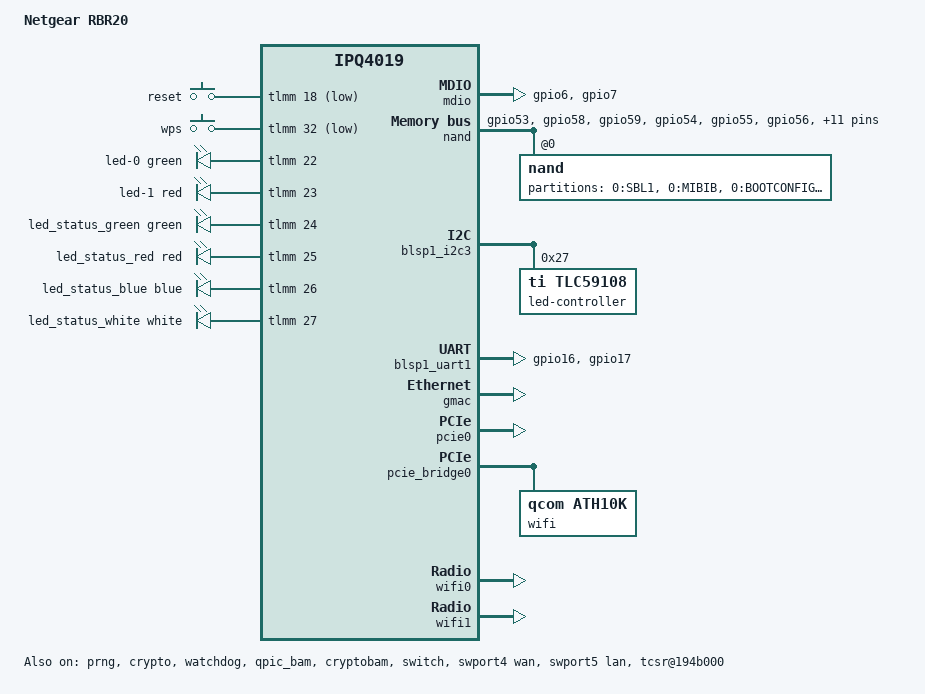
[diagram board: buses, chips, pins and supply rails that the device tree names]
// SPDX-License-Identifier: GPL-2.0-or-later OR MIT

#include "qcom-ipq4019.dtsi"
#include <dt-bindings/gpio/gpio.h>
#include <dt-bindings/input/input.h>
#include <dt-bindings/soc/qcom,tcsr.h>
#include <dt-bindings/leds/common.h>

/ {
	model = "Netgear RBR20";
	compatible = "netgear,rbr20";

	chosen {
		bootargs-append = "ubi.mtd=ubi root=/dev/ubiblock0_0";
	};

	aliases {
		led-boot = &led_status_white;
		led-failsafe = &led_status_red;
		led-running = &led_status_green;
		led-upgrade = &led_status_blue;
		label-mac-device = &gmac;
	};

	keys {
		compatible = "gpio-keys";

		reset {
			label = "reset";
			gpios = <&tlmm 18 GPIO_ACTIVE_LOW>;
			linux,code = <KEY_RESTART>;
		};

		wps {
			label = "wps";
			gpios = <&tlmm 32 GPIO_ACTIVE_LOW>;
			linux,code = <KEY_WPS_BUTTON>;
		};
	};

	leds {
		compatible = "gpio-leds";

		led-0 {
			function = LED_FUNCTION_POWER;
			color = <LED_COLOR_ID_GREEN>;
			gpios = <&tlmm 22 GPIO_ACTIVE_HIGH>;
			default-state = "on";
		};

		led-1 {
			function = LED_FUNCTION_POWER;
			color = <LED_COLOR_ID_RED>;
			gpios = <&tlmm 23 GPIO_ACTIVE_HIGH>;
			panic-indicator;
		};

		led_status_green: led-2 {
			function = LED_FUNCTION_STATUS;
			color = <LED_COLOR_ID_GREEN>;
			gpios = <&tlmm 24 GPIO_ACTIVE_HIGH>;
		};

		led_status_red: led-3 {
			function = LED_FUNCTION_STATUS;
			color = <LED_COLOR_ID_RED>;
			gpios = <&tlmm 25 GPIO_ACTIVE_HIGH>;
		};

		led_status_blue: led-4 {
			function = LED_FUNCTION_STATUS;
			color = <LED_COLOR_ID_BLUE>;
			gpios = <&tlmm 26 GPIO_ACTIVE_HIGH>;
		};

		led_status_white: led-5 {
			function = LED_FUNCTION_STATUS;
			color = <LED_COLOR_ID_WHITE>;
			gpios = <&tlmm 27 GPIO_ACTIVE_HIGH>;
		};
	};

	soc {
		tcsr@1949000 {
			compatible = "qcom,tcsr";
			reg = <0x1949000 0x100>;
			qcom,wifi_glb_cfg = <TCSR_WIFI_GLB_CFG>;
		};

		tcsr@194b000 {
			status = "okay";

			compatible = "qcom,tcsr";
			reg = <0x194b000 0x100>;
			qcom,usb-hsphy-mode-select = <TCSR_USB_HSPHY_HOST_MODE>;
		};

		ess_tcsr@1953000 {
			compatible = "qcom,tcsr";
			reg = <0x1953000 0x1000>;
			qcom,ess-interface-select = <TCSR_ESS_PSGMII>;
		};

		tcsr@1957000 {
			compatible = "qcom,tcsr";
			reg = <0x1957000 0x100>;
			qcom,wifi_noc_memtype_m0_m2 = <TCSR_WIFI_NOC_MEMTYPE_M0_M2>;
		};
	};
};

&prng {
	status = "okay";
};

&mdio {
	status = "okay";
	pinctrl-0 = <&mdio_pins>;
	pinctrl-names = "default";
};

&crypto {
	status = "okay";
};

&watchdog {
	status = "okay";
};

&blsp_dma {
	status = "okay";
};

&qpic_bam {
	status = "okay";
};

&tlmm {
	mdio_pins: mdio-pinmux {
		mux_mdio {
			pins = "gpio6";
			function = "mdio";
			bias-pull-up;
		};

		mux_mdc {
			pins = "gpio7";
			function = "mdc";
			bias-pull-up;
		};
	};

	serial_pins: serial-pinmux {
		function = "blsp_uart0";
		pins = "gpio16", "gpio17";
		bias-disable;
	};

	nand_pins: nand-pins {
		pullups {
			pins = "gpio53", "gpio58", "gpio59";
			function = "qpic";
			bias-pull-up;
		};

		pulldowns {
			pins = "gpio54", "gpio55", "gpio56",
				"gpio57", "gpio60", "gpio61",
				"gpio62", "gpio63", "gpio64",
				"gpio65", "gpio66", "gpio67",
				"gpio68", "gpio69";
			function = "qpic";
			bias-pull-down;
		};
	};
};

&nand {
	pinctrl-0 = <&nand_pins>;
	pinctrl-names = "default";
	status = "okay";

	nand@0 {
		partitions {
			compatible = "fixed-partitions";
			#address-cells = <1>;
			#size-cells = <1>;

			partition@0 {
				label = "0:SBL1";
				reg = <0x00000000 0x00100000>;
				read-only;
			};

			partition@100000 {
				label = "0:MIBIB";
				reg = <0x00100000 0x00100000>;
				read-only;
			};

			partition@200000 {
				label = "0:BOOTCONFIG";
				reg = <0x00200000 0x00100000>;
				read-only;
			};

			partition@300000 {
				label = "0:QSEE";
				reg = <0x00300000 0x00100000>;
				read-only;
			};

			partition@400000 {
				label = "0:QSEE_1";
				reg = <0x00400000 0x00100000>;
				read-only;
			};

			partition@500000 {
				label = "0:CDT";
				reg = <0x00500000 0x00080000>;
				read-only;
			};

			partition@580000 {
				label = "0:CDT_1";
				reg = <0x00580000 0x00080000>;
				read-only;
			};

			partition@600000 {
				label = "0:BOOTCONFIG1";
				reg = <0x00600000 0x00080000>;
				read-only;
			};

			partition@680000 {
				label = "0:APPSBLENV";
				reg = <0x00680000 0x00080000>;
			};

			partition@700000 {
				label = "0:APPSBL";
				reg = <0x00700000 0x00200000>;
				read-only;
			};

			partition@900000 {
				label = "0:APPSBL_1";
				reg = <0x00900000 0x00200000>;
				read-only;
			};

			partition@b00000 {
				label = "0:ART";
				reg = <0x00b00000 0x00080000>;
				read-only;

				nvmem-layout {
					compatible = "fixed-layout";
					#address-cells = <1>;
					#size-cells = <1>;

					precal_art_1000: precal@1000 {
						reg = <0x1000 0x2f20>;
					};

					precal_art_5000: precal@5000 {
						reg = <0x5000 0x2f20>;
					};

					precal_art_9000: precal@9000 {
						reg = <0x9000 0x2f20>;
					};
				};
			};

			partition@b80000 {
				label = "0:ART.bak";
				reg = <0x00b80000 0x00080000>;
				read-only;
			};

			partition@c00000 {
				label = "config";
				reg = <0x00c00000 0x00100000>;
				read-only;
			};

			partition@d00000 {
				label = "boarddata1";
				reg = <0x00d00000 0x00080000>;
				read-only;

				nvmem-layout {
					compatible = "fixed-layout";
					#address-cells = <1>;
					#size-cells = <1>;

					mac_address_lan: macaddr@0 {
						compatible = "mac-base";
						reg = <0x0 0x6>;
						#nvmem-cell-cells = <1>;
					};

					mac_address_wan: macaddr@6 {
						compatible = "mac-base";
						reg = <0x6 0x6>;
						#nvmem-cell-cells = <1>;
					};

					mac_address_wlan_5g: macaddr@c {
						compatible = "mac-base";
						reg = <0xc 0x6>;
						#nvmem-cell-cells = <1>;
					};

					mac_address_wlan_2nd5g: macaddr@12 {
						compatible = "mac-base";
						reg = <0x12 0x6>;
						#nvmem-cell-cells = <1>;
					};
				};
			};

			partition@d80000 {
				label = "boarddata2";
				reg = <0x00d80000 0x00040000>;
				read-only;
			};

			partition@dc0000 {
				label = "pot";
				reg = <0x00dc0000 0x00100000>;
				read-only;
			};

			partition@ec0000 {
				label = "boarddata1.bak";
				reg = <0x00ec0000 0x00080000>;
				read-only;
			};

			partition@f40000 {
				label = "boarddata2.bak";
				reg = <0x00f40000 0x00040000>;
				read-only;
			};

			partition@f80000 {
				label = "language";
				reg = <0x00f80000 0x00300000>;
				read-only;
			};

			partition@1280000 {
				label = "cert";
				reg = <0x01280000 0x00080000>;
				read-only;
			};

			partition@1300000 {
				label = "ntgrdata";
				reg = <0x01300000 0x09300000>;
			};

			partition@a600000 {
				label = "kernel";
				reg = <0x0a600000 0x00700000>;
			};

			partition@ad00000 {
				label = "ubi";
				reg = <0x0ad00000 0x05300000>;
			};
		};
	};
};

&blsp1_i2c3 {
	status = "okay";

	led-controller@27 {
		#address-cells = <1>;
		#size-cells = <0>;
		compatible = "ti,tlc59108"; /* really is tlc59208f */
		reg = <0x27>;

		led0@0 {
			function = LED_FUNCTION_BACKLIGHT;
			function-enumerator = <0>;
			color = <LED_COLOR_ID_WHITE>;
			reg = <0x0>;
			linux,default-trigger = "default-on";
		};

		led1@1 {
			function = LED_FUNCTION_BACKLIGHT;
			function-enumerator = <1>;
			color = <LED_COLOR_ID_WHITE>;
			reg = <0x1>;
			linux,default-trigger = "default-on";
		};

		led2@2 {
			function = LED_FUNCTION_BACKLIGHT;
			function-enumerator = <2>;
			color = <LED_COLOR_ID_WHITE>;
			reg = <0x2>;
			linux,default-trigger = "default-on";
		};

		led3@3 {
			function = LED_FUNCTION_BACKLIGHT;
			function-enumerator = <3>;
			color = <LED_COLOR_ID_WHITE>;
			reg = <0x3>;
			linux,default-trigger = "default-on";
		};
	};
};

&blsp1_uart1 {
	status = "okay";
	pinctrl-0 = <&serial_pins>;
	pinctrl-names = "default";
};

&cryptobam {
	status = "okay";
};

&gmac {
	status = "okay";

	nvmem-cell-names = "mac-address";
	nvmem-cells = <&mac_address_lan 0>;
};

&switch {
	status = "okay";
};

&swport4 {
	status = "okay";

	label = "wan";
	nvmem-cell-names = "mac-address";
	nvmem-cells = <&mac_address_wan 0>;
};

&swport5 {
	status = "okay";

	label = "lan";
};

&pcie0 {
	status = "okay";

	perst-gpios = <&tlmm 38 GPIO_ACTIVE_LOW>;
	wake-gpios = <&tlmm 50 GPIO_ACTIVE_LOW>;
};

&pcie_bridge0 {
	wifi@0,0 {
		compatible = "qcom,ath10k";
		reg = <0x00010000 0 0 0 0>;
		ieee80211-freq-limit = <5170000 5350000>;
		nvmem-cell-names = "pre-calibration", "mac-address";
		nvmem-cells = <&precal_art_9000>, <&mac_address_wlan_2nd5g 0>;
		qcom,ath10k-calibration-variant = "Netgear-RBK20";
	};
};

&wifi0 {
	status = "okay";
	nvmem-cell-names = "pre-calibration", "mac-address";
	nvmem-cells = <&precal_art_1000>, <&mac_address_lan 0>;
	qcom,ath10k-calibration-variant = "Netgear-RBK20";
};

&wifi1 {
	status = "okay";
	ieee80211-freq-limit = <5470000 5815000>;
	nvmem-cell-names = "pre-calibration", "mac-address";
	nvmem-cells = <&precal_art_5000>, <&mac_address_wlan_5g 0>;
	qcom,ath10k-calibration-variant = "Netgear-RBK20";
};
